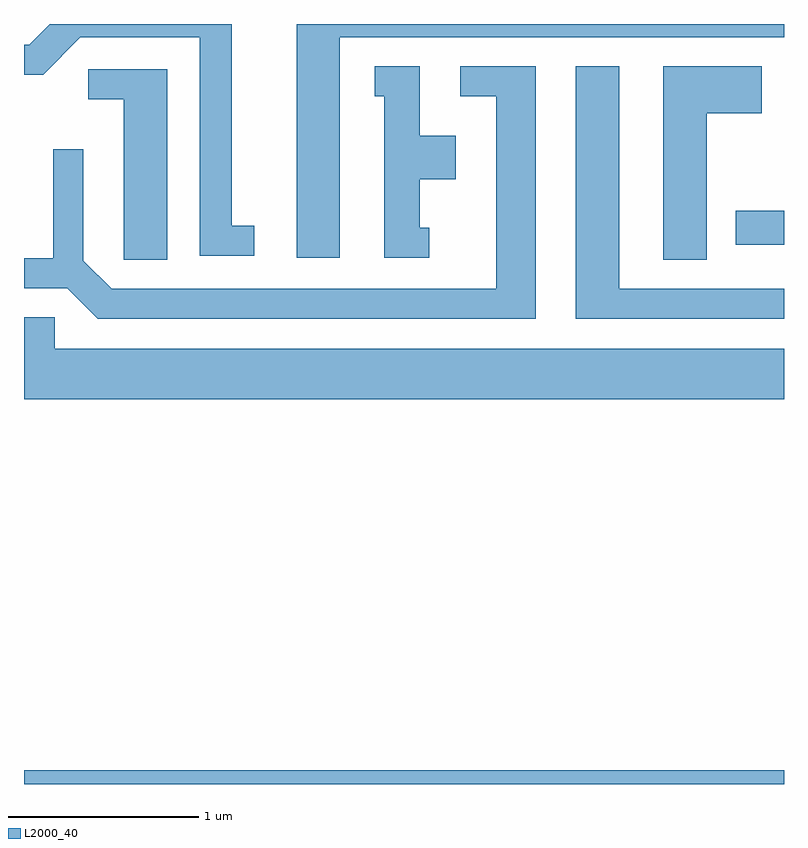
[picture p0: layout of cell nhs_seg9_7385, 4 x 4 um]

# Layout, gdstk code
import gdstk
lib = gdstk.Library(unit=1e-6, precision=1e-09)
def R(c, l, rs):  # rectangles x0, y0, x1, y1
    for r in rs: c.add(gdstk.rectangle(r[:2], r[2:], *l))
def P(c, l, *ps):  # polygons
    for p in ps: c.add(gdstk.Polygon(p, *l))
L2000_40 = (2000, 40)

nhs_seg9_7385 = lib.new_cell('nhs_seg9_7385')
R(nhs_seg9_7385, L2000_40, [(403.611,2016.432,407.611,2016.504), (407.356,2019.271,407.611,2019.449)])
P(nhs_seg9_7385, L2000_40, [(404.823,2019.369),(404.704,2019.369),(404.704,2020.432),(403.747,2020.432),(403.639,2020.324),(403.611,2020.324),(403.611,2020.166),(403.712,2020.166),(403.907,2020.361),(404.536,2020.361),(404.536,2019.211),(404.823,2019.211)],
  [(405.274,2020.361),(407.611,2020.361),(407.611,2020.432),(405.046,2020.432),(405.046,2019.201),(405.274,2019.201)],
  [(407.611,2019.039),(406.744,2019.039),(406.744,2020.209),(406.516,2020.209),(406.516,2018.881),(407.611,2018.881)],
  [(405.743,2019.359),(405.694,2019.359),(405.694,2019.616),(405.884,2019.616),(405.884,2019.844),(405.694,2019.844),(405.694,2020.209),(405.458,2020.209),(405.458,2020.051),(405.506,2020.051),(405.506,2019.201),(405.743,2019.201)],
  [(407.204,2019.961),(407.494,2019.961),(407.494,2020.209),(406.976,2020.209),(406.976,2019.191),(407.204,2019.191)],
  [(406.304,2020.209),(405.908,2020.209),(405.908,2020.051),(406.096,2020.051),(406.096,2019.039),(404.072,2019.039),(403.924,2019.187),(403.924,2019.773),(403.766,2019.773),(403.766,2019.199),(403.611,2019.199),(403.611,2019.041),(403.839,2019.041),(403.999,2018.881),(406.304,2018.881)],
  [(404.364,2020.194),(403.948,2020.194),(403.948,2020.036),(404.136,2020.036),(404.136,2019.191),(404.364,2019.191)],
  [(407.611,2018.724),(403.774,2018.724),(403.774,2018.889),(403.611,2018.889),(403.611,2018.456),(407.611,2018.456)])

lib.write_gds('nhs_seg9_7385.gds')
